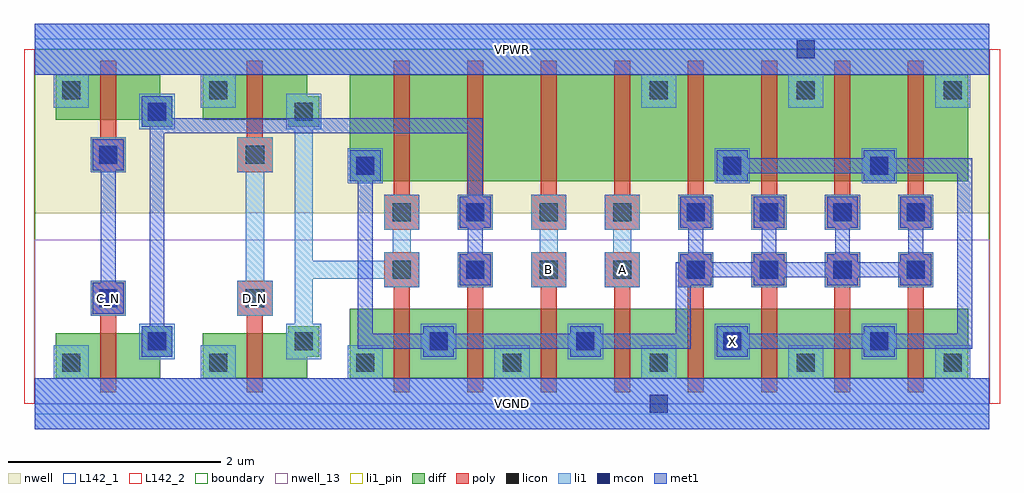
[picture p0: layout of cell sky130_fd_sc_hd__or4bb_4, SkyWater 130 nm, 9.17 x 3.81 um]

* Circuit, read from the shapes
.subckt sky130_fd_sc_hd__or4bb_4 A B C_N D_N VGND VPWR X
XM1 n1 C_N VGND VSUBS sky130_fd_pr__nfet_01v8 w=0.42 l=0.15
XM2 n2 D_N VGND VSUBS sky130_fd_pr__nfet_01v8 w=0.42 l=0.15
XM3 n3 n2 VGND VSUBS sky130_fd_pr__nfet_01v8 w=0.65 l=0.15
XM4 VGND n1 n3 VSUBS sky130_fd_pr__nfet_01v8 w=0.65 l=0.15
XM5 n3 B VGND VSUBS sky130_fd_pr__nfet_01v8 w=0.65 l=0.15
XM6 VGND A n3 VSUBS sky130_fd_pr__nfet_01v8 w=0.65 l=0.15
XM7 X n3 VGND VSUBS sky130_fd_pr__nfet_01v8 w=0.65 l=0.15 m=4
XM8 n1 C_N VPWR n4 sky130_fd_pr__pfet_01v8 w=0.42 l=0.15
XM9 n2 D_N VPWR n4 sky130_fd_pr__pfet_01v8 w=0.42 l=0.15
XM10 n5 n2 n3 n4 sky130_fd_pr__pfet_01v8 w=1 l=0.15
XM11 n6 n1 n5 n4 sky130_fd_pr__pfet_01v8 w=1 l=0.15
XM12 n7 B n6 n4 sky130_fd_pr__pfet_01v8 w=1 l=0.15
XM13 VPWR A n7 n4 sky130_fd_pr__pfet_01v8 w=1 l=0.15
XM14 X n3 VPWR n4 sky130_fd_pr__pfet_01v8 w=1 l=0.15 m=4
.ends

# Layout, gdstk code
import gdstk
lib = gdstk.Library(unit=1e-6, precision=1e-09)
def R(c, l, rs):  # rectangles x0, y0, x1, y1
    for r in rs: c.add(gdstk.rectangle(r[:2], r[2:], *l))
def A(c, l, x, y, w, h, nx, ny, dx, dy):  # array of equal rectangles
    R(c, l, [(x+i*dx, y+j*dy, x+i*dx+w, y+j*dy+h) for i in range(nx) for j in range(ny)])
def P(c, l, *ps):  # polygons
    for p in ps: c.add(gdstk.Polygon(p, *l))
nwell_13 = (64, 13)
nwell = (64, 20)
diff = (65, 20)
poly = (66, 20)
licon = (66, 44)
li1_pin = (67, 16)
li1 = (67, 20)
mcon = (67, 44)
met1 = (68, 20)
L142_1 = (142, 1)
L142_2 = (142, 2)
boundary = (235, 4)

sky130_fd_sc_hd__or4bb_4 = lib.new_cell('sky130_fd_sc_hd__or4bb_4')
R(sky130_fd_sc_hd__or4bb_4, nwell_13, [(0,0,8.97,1.54)])
R(sky130_fd_sc_hd__or4bb_4, nwell, [(0,1.79,8.97,3.33)])
A(sky130_fd_sc_hd__or4bb_4, diff, 3.375, 0.24, 0.69, 0.65, 7, 1, 0.69, 0)
A(sky130_fd_sc_hd__or4bb_4, diff, 3.375, 2.09, 0.69, 1, 7, 1, 0.69, 0)
R(sky130_fd_sc_hd__or4bb_4, diff, [(0.2,0.24,1.18,0.66), (0.2,0.24,0.615,0.66), (1.58,0.24,2.56,0.66), (1.58,0.24,1.995,0.66), (2.96,0.24,8.77,0.89), (2.96,0.24,3.375,0.89), (8.205,0.24,8.77,0.89), (2.96,2.09,8.77,3.09), (2.96,2.09,3.375,3.09), (8.205,2.09,8.77,3.09), (0.2,2.67,1.18,3.09), (0.2,2.67,0.615,3.09), (1.58,2.67,2.56,3.09), (1.58,2.67,1.995,3.09)])
P(sky130_fd_sc_hd__or4bb_4, diff, [(1.995,0.24),(1.995,0.66),(2.385,0.66),(2.385,0.73),(2.675,0.73),(2.675,0.44),(2.56,0.44),(2.56,0.24)],
  [(0.615,0.24),(0.615,0.66),(1.005,0.66),(1.005,0.73),(1.295,0.73),(1.295,0.44),(1.18,0.44),(1.18,0.24)],
  [(2.385,2.6),(2.385,2.67),(1.995,2.67),(1.995,3.09),(2.56,3.09),(2.56,2.89),(2.675,2.89),(2.675,2.6)],
  [(1.005,2.6),(1.005,2.67),(0.615,2.67),(0.615,3.09),(1.18,3.09),(1.18,2.89),(1.295,2.89),(1.295,2.6)])
P(sky130_fd_sc_hd__or4bb_4, poly, [(4.755,0.11),(4.755,1.095),(4.665,1.095),(4.665,1.425),(4.995,1.425),(4.995,1.095),(4.905,1.095),(4.905,0.11)],
  [(4.665,1.635),(4.665,1.965),(4.755,1.965),(4.755,3.22),(4.905,3.22),(4.905,1.965),(4.995,1.965),(4.995,1.635)],
  [(6.135,0.11),(6.135,1.095),(6.045,1.095),(6.045,1.425),(6.375,1.425),(6.375,1.095),(6.285,1.095),(6.285,0.11)],
  [(6.825,0.11),(6.825,1.095),(6.735,1.095),(6.735,1.425),(7.065,1.425),(7.065,1.095),(6.975,1.095),(6.975,0.11)],
  [(7.515,0.11),(7.515,1.095),(7.425,1.095),(7.425,1.425),(7.755,1.425),(7.755,1.095),(7.665,1.095),(7.665,0.11)],
  [(8.205,0.11),(8.205,1.095),(8.115,1.095),(8.115,1.425),(8.445,1.425),(8.445,1.095),(8.355,1.095),(8.355,0.11)],
  [(6.045,1.635),(6.045,1.965),(6.135,1.965),(6.135,3.22),(6.285,3.22),(6.285,1.965),(6.375,1.965),(6.375,1.635)],
  [(6.735,1.635),(6.735,1.965),(6.825,1.965),(6.825,3.22),(6.975,3.22),(6.975,1.965),(7.065,1.965),(7.065,1.635)],
  [(7.425,1.635),(7.425,1.965),(7.515,1.965),(7.515,3.22),(7.665,3.22),(7.665,1.965),(7.755,1.965),(7.755,1.635)],
  [(8.115,1.635),(8.115,1.965),(8.205,1.965),(8.205,3.22),(8.355,3.22),(8.355,1.965),(8.445,1.965),(8.445,1.635)],
  [(3.375,0.11),(3.375,1.095),(3.285,1.095),(3.285,1.425),(3.615,1.425),(3.615,1.095),(3.525,1.095),(3.525,0.11)],
  [(3.285,1.635),(3.285,1.965),(3.375,1.965),(3.375,3.22),(3.525,3.22),(3.525,1.965),(3.615,1.965),(3.615,1.635)],
  [(1.995,0.11),(1.995,0.825),(1.905,0.825),(1.905,1.155),(2.235,1.155),(2.235,0.825),(2.145,0.825),(2.145,0.11)],
  [(1.905,2.175),(1.905,2.505),(1.995,2.505),(1.995,3.22),(2.145,3.22),(2.145,2.505),(2.235,2.505),(2.235,2.175)],
  [(4.065,0.11),(4.065,1.095),(3.975,1.095),(3.975,1.425),(4.305,1.425),(4.305,1.095),(4.215,1.095),(4.215,0.11)],
  [(3.975,1.635),(3.975,1.965),(4.065,1.965),(4.065,3.22),(4.215,3.22),(4.215,1.965),(4.305,1.965),(4.305,1.635)],
  [(5.445,0.11),(5.445,1.095),(5.355,1.095),(5.355,1.425),(5.685,1.425),(5.685,1.095),(5.595,1.095),(5.595,0.11)],
  [(5.355,1.635),(5.355,1.965),(5.445,1.965),(5.445,3.22),(5.595,3.22),(5.595,1.965),(5.685,1.965),(5.685,1.635)],
  [(0.615,0.11),(0.615,0.825),(0.525,0.825),(0.525,1.155),(0.855,1.155),(0.855,0.825),(0.765,0.825),(0.765,0.11)],
  [(0.525,2.175),(0.525,2.505),(0.615,2.505),(0.615,3.22),(0.765,3.22),(0.765,2.505),(0.855,2.505),(0.855,2.175)])
A(sky130_fd_sc_hd__or4bb_4, licon, 0.26, 0.3, 0.17, 0.17, 7, 1, 1.38, 0)
A(sky130_fd_sc_hd__or4bb_4, licon, 3.71, 0.5, 0.17, 0.17, 4, 1, 1.38, 0)
A(sky130_fd_sc_hd__or4bb_4, licon, 3.365, 1.175, 0.17, 0.17, 8, 2, 0.69, 0.54)
A(sky130_fd_sc_hd__or4bb_4, licon, 5.78, 2.86, 0.17, 0.17, 3, 1, 1.38, 0)
R(sky130_fd_sc_hd__or4bb_4, licon, [(1.065,0.5,1.235,0.67), (2.445,0.5,2.615,0.67), (0.605,0.905,0.775,1.075), (1.985,0.905,2.155,1.075), (3.02,2.15,3.19,2.32), (6.47,2.15,6.64,2.32), (7.85,2.15,8.02,2.32), (0.605,2.255,0.775,2.425), (1.985,2.255,2.155,2.425), (1.065,2.66,1.235,2.83), (2.445,2.66,2.615,2.83), (0.26,2.86,0.43,3.03), (1.64,2.86,1.81,3.03)])
R(sky130_fd_sc_hd__or4bb_4, li1_pin, [(0,-0.24,8.97,0.24), (6.39,0.42,6.72,0.75), (0.525,0.825,0.855,1.155), (0,3.09,8.97,3.57)])
P(sky130_fd_sc_hd__or4bb_4, li1_pin, [(1.905,0.825),(1.905,1.155),(1.985,1.155),(1.985,2.175),(1.905,2.175),(1.905,2.505),(2.235,2.505),(2.235,2.175),(2.155,2.175),(2.155,1.155),(2.235,1.155),(2.235,0.825)],
  [(4.665,1.095),(4.665,1.425),(4.745,1.425),(4.745,1.635),(4.665,1.635),(4.665,1.965),(4.995,1.965),(4.995,1.635),(4.915,1.635),(4.915,1.425),(4.995,1.425),(4.995,1.095)],
  [(5.355,1.095),(5.355,1.425),(5.435,1.425),(5.435,1.635),(5.355,1.635),(5.355,1.965),(5.685,1.965),(5.685,1.635),(5.605,1.635),(5.605,1.425),(5.685,1.425),(5.685,1.095)])
A(sky130_fd_sc_hd__or4bb_4, li1, 3.63, 0.42, 0.33, 0.33, 4, 1, 1.38, 0)
A(sky130_fd_sc_hd__or4bb_4, li1, 6.045, 1.095, 0.33, 0.33, 4, 2, 0.69, 0.54)
R(sky130_fd_sc_hd__or4bb_4, li1, [(0.985,0.42,1.315,0.75), (0.525,0.825,0.855,1.155), (3.975,1.095,4.305,1.425), (3.975,1.635,4.305,1.965), (2.94,2.07,3.27,2.4), (6.39,2.07,6.72,2.4), (7.77,2.07,8.1,2.4), (0.525,2.175,0.855,2.505), (0.985,2.58,1.315,2.91)])
P(sky130_fd_sc_hd__or4bb_4, li1, [(4.665,1.095),(4.665,1.425),(4.745,1.425),(4.745,1.635),(4.665,1.635),(4.665,1.965),(4.995,1.965),(4.995,1.635),(4.915,1.635),(4.915,1.425),(4.995,1.425),(4.995,1.095)],
  [(2.365,0.42),(2.365,0.75),(2.445,0.75),(2.445,2.58),(2.365,2.58),(2.365,2.91),(2.695,2.91),(2.695,2.58),(2.615,2.58),(2.615,1.345),(3.285,1.345),(3.285,1.425),(3.365,1.425),(3.365,1.635),(3.285,1.635),(3.285,1.965),(3.615,1.965),(3.615,1.635),(3.535,1.635),(3.535,1.425),(3.615,1.425),(3.615,1.095),(3.285,1.095),(3.285,1.175),(2.615,1.175),(2.615,0.75),(2.695,0.75),(2.695,0.42)],
  [(0.18,2.78),(0.18,3.09),(0,3.09),(0,3.57),(8.97,3.57),(8.97,3.09),(8.79,3.09),(8.79,2.78),(8.46,2.78),(8.46,3.09),(7.41,3.09),(7.41,2.78),(7.08,2.78),(7.08,3.09),(6.03,3.09),(6.03,2.78),(5.7,2.78),(5.7,3.09),(1.89,3.09),(1.89,2.78),(1.56,2.78),(1.56,3.09),(0.51,3.09),(0.51,2.78)],
  [(1.905,0.825),(1.905,1.155),(1.985,1.155),(1.985,2.175),(1.905,2.175),(1.905,2.505),(2.235,2.505),(2.235,2.175),(2.155,2.175),(2.155,1.155),(2.235,1.155),(2.235,0.825)],
  [(0,-0.24),(0,0.24),(0.18,0.24),(0.18,0.55),(0.51,0.55),(0.51,0.24),(1.56,0.24),(1.56,0.55),(1.89,0.55),(1.89,0.24),(2.94,0.24),(2.94,0.55),(3.27,0.55),(3.27,0.24),(4.32,0.24),(4.32,0.55),(4.65,0.55),(4.65,0.24),(5.7,0.24),(5.7,0.55),(6.03,0.55),(6.03,0.24),(7.08,0.24),(7.08,0.55),(7.41,0.55),(7.41,0.24),(8.46,0.24),(8.46,0.55),(8.79,0.55),(8.79,0.24),(8.97,0.24),(8.97,-0.24)],
  [(5.355,1.095),(5.355,1.425),(5.435,1.425),(5.435,1.635),(5.355,1.635),(5.355,1.965),(5.685,1.965),(5.685,1.635),(5.605,1.635),(5.605,1.425),(5.685,1.425),(5.685,1.095)])
A(sky130_fd_sc_hd__or4bb_4, mcon, 3.71, 0.5, 0.17, 0.17, 4, 1, 1.38, 0)
A(sky130_fd_sc_hd__or4bb_4, mcon, 6.125, 1.175, 0.17, 0.17, 4, 2, 0.69, 0.54)
R(sky130_fd_sc_hd__or4bb_4, mcon, [(5.78,-0.085,5.95,0.085), (1.065,0.5,1.235,0.67), (0.605,0.905,0.775,1.075), (4.055,1.175,4.225,1.345), (4.055,1.715,4.225,1.885), (3.02,2.15,3.19,2.32), (6.47,2.15,6.64,2.32), (7.85,2.15,8.02,2.32), (0.605,2.255,0.775,2.425), (1.065,2.66,1.235,2.83), (7.16,3.245,7.33,3.415)])
R(sky130_fd_sc_hd__or4bb_4, met1, [(0,-0.24,8.97,0.24), (0,3.09,8.97,3.57)])
P(sky130_fd_sc_hd__or4bb_4, met1, [(3.65,0.44),(3.65,0.515),(3.035,0.515),(3.035,2.09),(2.96,2.09),(2.96,2.38),(3.25,2.38),(3.25,2.09),(3.175,2.09),(3.175,0.655),(3.65,0.655),(3.65,0.73),(3.94,0.73),(3.94,0.655),(5.03,0.655),(5.03,0.73),(5.32,0.73),(5.32,0.655),(6.025,0.655),(6.025,1.33),(6.065,1.33),(6.065,1.405),(6.14,1.405),(6.14,1.655),(6.065,1.655),(6.065,1.945),(6.355,1.945),(6.355,1.655),(6.28,1.655),(6.28,1.405),(6.355,1.405),(6.355,1.33),(6.755,1.33),(6.755,1.405),(6.83,1.405),(6.83,1.655),(6.755,1.655),(6.755,1.945),(7.045,1.945),(7.045,1.655),(6.97,1.655),(6.97,1.405),(7.045,1.405),(7.045,1.33),(7.445,1.33),(7.445,1.405),(7.52,1.405),(7.52,1.655),(7.445,1.655),(7.445,1.945),(7.735,1.945),(7.735,1.655),(7.66,1.655),(7.66,1.405),(7.735,1.405),(7.735,1.33),(8.135,1.33),(8.135,1.405),(8.21,1.405),(8.21,1.655),(8.135,1.655),(8.135,1.945),(8.425,1.945),(8.425,1.655),(8.35,1.655),(8.35,1.405),(8.425,1.405),(8.425,1.115),(8.135,1.115),(8.135,1.19),(7.735,1.19),(7.735,1.115),(7.445,1.115),(7.445,1.19),(7.045,1.19),(7.045,1.115),(6.755,1.115),(6.755,1.19),(6.355,1.19),(6.355,1.115),(6.165,1.115),(6.165,0.515),(5.32,0.515),(5.32,0.44),(5.03,0.44),(5.03,0.515),(3.94,0.515),(3.94,0.44)],
  [(1.005,0.44),(1.005,0.73),(1.08,0.73),(1.08,2.6),(1.005,2.6),(1.005,2.89),(1.295,2.89),(1.295,2.68),(4.21,2.68),(4.21,1.945),(4.285,1.945),(4.285,1.655),(4.21,1.655),(4.21,1.405),(4.285,1.405),(4.285,1.115),(3.995,1.115),(3.995,1.405),(4.07,1.405),(4.07,1.655),(3.995,1.655),(3.995,1.945),(4.07,1.945),(4.07,2.54),(1.22,2.54),(1.22,0.73),(1.295,0.73),(1.295,0.44)],
  [(6.41,0.44),(6.41,0.73),(6.7,0.73),(6.7,0.655),(7.79,0.655),(7.79,0.73),(8.08,0.73),(8.08,0.655),(8.67,0.655),(8.67,2.165),(8.08,2.165),(8.08,2.09),(7.79,2.09),(7.79,2.165),(6.7,2.165),(6.7,2.09),(6.41,2.09),(6.41,2.38),(6.7,2.38),(6.7,2.305),(7.79,2.305),(7.79,2.38),(8.08,2.38),(8.08,2.305),(8.81,2.305),(8.81,0.515),(8.08,0.515),(8.08,0.44),(7.79,0.44),(7.79,0.515),(6.7,0.515),(6.7,0.44)],
  [(0.545,0.845),(0.545,1.135),(0.62,1.135),(0.62,2.195),(0.545,2.195),(0.545,2.485),(0.835,2.485),(0.835,2.195),(0.76,2.195),(0.76,1.135),(0.835,1.135),(0.835,0.845)])
R(sky130_fd_sc_hd__or4bb_4, L142_1, [(0,-0.1,8.97,0), (0,3.33,8.97,3.43)])
R(sky130_fd_sc_hd__or4bb_4, L142_2, [(-0.1,0,0,3.33), (8.97,0,9.07,3.33)])
R(sky130_fd_sc_hd__or4bb_4, boundary, [(0,0,8.97,3.33)])
sky130_fd_sc_hd__or4bb_4.add(gdstk.Label('X', (6.555,0.585), layer=67, texttype=5))
sky130_fd_sc_hd__or4bb_4.add(gdstk.Label('D_N', (2.07,0.99), layer=67, texttype=5))
sky130_fd_sc_hd__or4bb_4.add(gdstk.Label('B', (4.83,1.26), layer=67, texttype=5))
sky130_fd_sc_hd__or4bb_4.add(gdstk.Label('C_N', (0.69,0.99), layer=67, texttype=5))
sky130_fd_sc_hd__or4bb_4.add(gdstk.Label('A', (5.52,1.26), layer=67, texttype=5))
sky130_fd_sc_hd__or4bb_4.add(gdstk.Label('VGND', (4.485,0), layer=67, texttype=5))
sky130_fd_sc_hd__or4bb_4.add(gdstk.Label('VPWR', (4.485,3.33), layer=67, texttype=5))
sky130_fd_sc_hd__or4bb_4.add(gdstk.Label('VGND', (4.485,0), layer=68, texttype=5))
sky130_fd_sc_hd__or4bb_4.add(gdstk.Label('VPWR', (4.485,3.33), layer=68, texttype=5))

lib.write_gds('sky130_fd_sc_hd__or4bb_4.gds')
